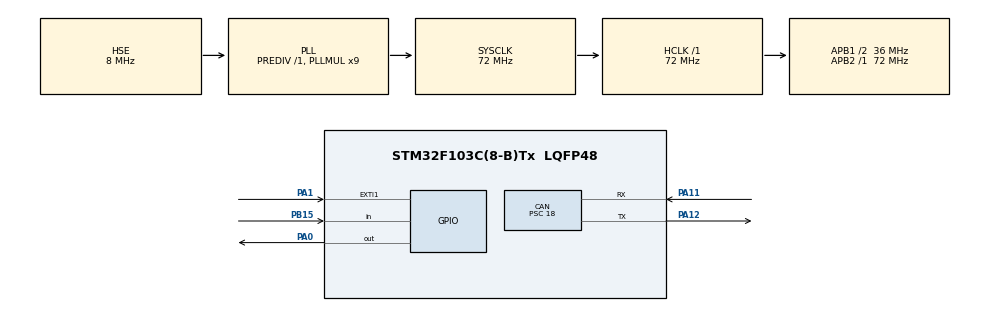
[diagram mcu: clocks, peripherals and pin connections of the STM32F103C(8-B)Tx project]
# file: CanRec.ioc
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CAN.BS1=CAN_BS1_2TQ
CAN.CalculateBaudRate=500000
CAN.CalculateTimeBit=2000.00
CAN.CalculateTimeQuantum=500.0
CAN.NART=ENABLE
CAN.Prescaler=18
Mcu.Family=STM32F1
Mcu.Name=STM32F103C(8-B)Tx
Mcu.Package=LQFP48
NVIC.EXTI1_IRQn=true\:0\:0\:false\:false\:true\:true\:true
NVIC.PriorityGroup=NVIC_PRIORITYGROUP_4
NVIC.USB_LP_CAN1_RX0_IRQn=true\:0\:0\:false\:false\:true\:true\:true
PA0-WKUP.Signal=GPIO_Output
PA1.Signal=GPXTI1
PA11.Mode=CAN_Activate
PA11.Signal=CAN_RX
PA12.Mode=CAN_Activate
PA12.Signal=CAN_TX
PA13.Mode=Serial_Wire
PA13.Signal=SYS_JTMS-SWDIO
PA14.Mode=Serial_Wire
PA14.Signal=SYS_JTCK-SWCLK
PB15.Signal=GPIO_Input
PD0-OSC_IN.Mode=HSE-External-Oscillator
PD0-OSC_IN.Signal=RCC_OSC_IN
PD1-OSC_OUT.Mode=HSE-External-Oscillator
PD1-OSC_OUT.Signal=RCC_OSC_OUT
ProjectManager.HeapSize=0x200
ProjectManager.StackSize=0x400
ProjectManager.TargetToolchain=STM32CubeIDE
RCC.AHBFreq_Value=72000000
RCC.APB1CLKDivider=RCC_HCLK_DIV2
RCC.APB1Freq_Value=36000000
RCC.APB1TimFreq_Value=72000000
RCC.APB2Freq_Value=72000000
RCC.APB2TimFreq_Value=72000000
RCC.HCLKFreq_Value=72000000
RCC.PLLMUL=RCC_PLL_MUL9
RCC.PLLSourceVirtual=RCC_PLLSOURCE_HSE
RCC.SYSCLKFreq_VALUE=72000000
RCC.SYSCLKSource=RCC_SYSCLKSOURCE_PLLCLK
RCC.USBFreq_Value=72000000
board=custom

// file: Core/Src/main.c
/* USER CODE BEGIN Header */
/**
  ******************************************************************************
  * @file           : main.c
  * @brief          : Main program body
  ******************************************************************************
  * @attention
  *
  * <h2><center>&copy; Copyright (c) 2022 STMicroelectronics.
  * All rights reserved.</center></h2>
  *
  * This software component is licensed by ST under BSD 3-Clause license,
  * the "License"; You may not use this file except in compliance with the
  * License. You may obtain a copy of the License at:
  *                        opensource.org/licenses/BSD-3-Clause
  *
  ******************************************************************************
  */
/* USER CODE END Header */
#include "main.h"

CAN_HandleTypeDef hcan;

void SystemClock_Config(void);
static void MX_GPIO_Init(void);
static void MX_CAN_Init(void);

/* USER CODE BEGIN 0 */

CAN_TxHeaderTypeDef tx;
CAN_RxHeaderTypeDef rx;

uint8_t tx_data[8];
uint8_t rx_data[8];

uint32_t mailbox;

int datacheck = 0;

void HAL_GPIO_EXTI_Callback(uint16_t GPIO_Pin) {

	tx_data[0] = 100;
	tx_data[1] = 10;

	if(HAL_CAN_AddTxMessage(&hcan, &tx, tx_data, &mailbox) == HAL_OK)
		HAL_GPIO_TogglePin(GPIOA, GPIO_PIN_0);
}

//void HAL_CAN_RxFifo0MsgPendingCallback(CAN_HandleTypeDef *hcan) {
//	HAL_CAN_GetRxMessage(hcan, CAN_RX_FIFO0, &rx, rx_data);
//	HAL_GPIO_WritePin(GPIOA, GPIO_PIN_0, GPIO_PIN_SET);
//}

/* USER CODE END 0 */

int main(void)
{

  /* MCU Configuration--------------------------------------------------------*/

  /* Reset of all peripherals, Initializes the Flash interface and the Systick. */
  HAL_Init();

  /* Configure the system clock */
  SystemClock_Config();

  /* Initialize all configured peripherals */
  MX_GPIO_Init();
  MX_CAN_Init();
  /* USER CODE BEGIN 2 */

  HAL_CAN_Start(&hcan);
  HAL_CAN_ActivateNotification(&hcan, CAN_IT_RX_FIFO0_MSG_PENDING);

  HAL_GPIO_WritePin(GPIOA, GPIO_PIN_0, GPIO_PIN_RESET);
  tx.DLC = 2;
  tx.IDE = CAN_ID_STD;
  tx.RTR = CAN_RTR_DATA;
  tx.StdId = 0x446;

  /* USER CODE END 2 */

  /* Infinite loop */
  while (1)
  {

  }
}

void SystemClock_Config(void)
{
  RCC_OscInitTypeDef RCC_OscInitStruct = {0};
  RCC_ClkInitTypeDef RCC_ClkInitStruct = {0};

  /** Initializes the RCC Oscillators according to the specified parameters
  * in the RCC_OscInitTypeDef structure.
  */
  RCC_OscInitStruct.OscillatorType = RCC_OSCILLATORTYPE_HSE;
  RCC_OscInitStruct.HSEState = RCC_HSE_ON;
  RCC_OscInitStruct.HSEPredivValue = RCC_HSE_PREDIV_DIV1;
  RCC_OscInitStruct.HSIState = RCC_HSI_ON;
  RCC_OscInitStruct.PLL.PLLState = RCC_PLL_ON;
  RCC_OscInitStruct.PLL.PLLSource = RCC_PLLSOURCE_HSE;
  RCC_OscInitStruct.PLL.PLLMUL = RCC_PLL_MUL9;
  if (HAL_RCC_OscConfig(&RCC_OscInitStruct) != HAL_OK)
  {
    Error_Handler();
  }
  /** Initializes the CPU, AHB and APB buses clocks
  */
  RCC_ClkInitStruct.ClockType = RCC_CLOCKTYPE_HCLK|RCC_CLOCKTYPE_SYSCLK
                              |RCC_CLOCKTYPE_PCLK1|RCC_CLOCKTYPE_PCLK2;
  RCC_ClkInitStruct.SYSCLKSource = RCC_SYSCLKSOURCE_PLLCLK;
  RCC_ClkInitStruct.AHBCLKDivider = RCC_SYSCLK_DIV1;
  RCC_ClkInitStruct.APB1CLKDivider = RCC_HCLK_DIV2;
  RCC_ClkInitStruct.APB2CLKDivider = RCC_HCLK_DIV1;

  if (HAL_RCC_ClockConfig(&RCC_ClkInitStruct, FLASH_LATENCY_2) != HAL_OK)
  {
    Error_Handler();
  }
}

static void MX_CAN_Init(void)
{

  hcan.Instance = CAN1;
  hcan.Init.Prescaler = 18;
  hcan.Init.Mode = CAN_MODE_NORMAL;
  hcan.Init.SyncJumpWidth = CAN_SJW_1TQ;
  hcan.Init.TimeSeg1 = CAN_BS1_2TQ;
  hcan.Init.TimeSeg2 = CAN_BS2_1TQ;
  hcan.Init.TimeTriggeredMode = DISABLE;
  hcan.Init.AutoBusOff = DISABLE;
  hcan.Init.AutoWakeUp = DISABLE;
  hcan.Init.AutoRetransmission = ENABLE;
  hcan.Init.ReceiveFifoLocked = DISABLE;
  hcan.Init.TransmitFifoPriority = DISABLE;
  if (HAL_CAN_Init(&hcan) != HAL_OK)
  {
    Error_Handler();
  }
  /* USER CODE BEGIN CAN_Init 2 */

  CAN_FilterTypeDef can_filter;

  can_filter.FilterActivation = CAN_FILTER_ENABLE;
  can_filter.FilterBank = 3;
  can_filter.FilterFIFOAssignment = CAN_FILTER_FIFO0;
  can_filter.FilterIdHigh = 0x0000;
  can_filter.FilterIdLow = 0;
  can_filter.FilterMaskIdHigh = 0x0000;
  can_filter.FilterMode = CAN_FILTERMODE_IDMASK;
  can_filter.FilterScale = CAN_FILTERSCALE_32BIT;

  HAL_CAN_ConfigFilter(&hcan, &can_filter);

  /* USER CODE END CAN_Init 2 */

}

static void MX_GPIO_Init(void)
{
  GPIO_InitTypeDef GPIO_InitStruct = {0};

  /* GPIO Ports Clock Enable */
  __HAL_RCC_GPIOD_CLK_ENABLE();
  __HAL_RCC_GPIOA_CLK_ENABLE();
  __HAL_RCC_GPIOB_CLK_ENABLE();

  /*Configure GPIO pin Output Level */
  HAL_GPIO_WritePin(GPIOA, GPIO_PIN_0, GPIO_PIN_RESET);

  /*Configure GPIO pin : PA0 */
  GPIO_InitStruct.Pin = GPIO_PIN_0;
  GPIO_InitStruct.Mode = GPIO_MODE_OUTPUT_PP;
  GPIO_InitStruct.Pull = GPIO_NOPULL;
  GPIO_InitStruct.Speed = GPIO_SPEED_FREQ_LOW;
  HAL_GPIO_Init(GPIOA, &GPIO_InitStruct);

  /*Configure GPIO pin : PA1 */
  GPIO_InitStruct.Pin = GPIO_PIN_1;
  GPIO_InitStruct.Mode = GPIO_MODE_IT_RISING;
  GPIO_InitStruct.Pull = GPIO_NOPULL;
  HAL_GPIO_Init(GPIOA, &GPIO_InitStruct);

  /*Configure GPIO pin : PB15 */
  GPIO_InitStruct.Pin = GPIO_PIN_15;
  GPIO_InitStruct.Mode = GPIO_MODE_INPUT;
  GPIO_InitStruct.Pull = GPIO_NOPULL;
  HAL_GPIO_Init(GPIOB, &GPIO_InitStruct);

  /* EXTI interrupt init*/
  HAL_NVIC_SetPriority(EXTI1_IRQn, 0, 0);
  HAL_NVIC_EnableIRQ(EXTI1_IRQn);

}

void Error_Handler(void)
{
  __disable_irq();
  while (1)
  {
  }
}

/************************ (C) COPYRIGHT STMicroelectronics *****END OF FILE****/
